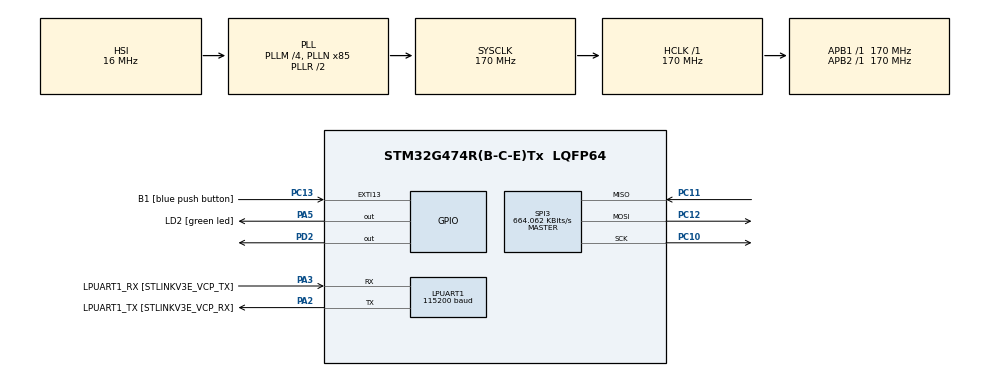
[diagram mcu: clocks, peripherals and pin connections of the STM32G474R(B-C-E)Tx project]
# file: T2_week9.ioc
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LPUART1.BaudRate=115200
LPUART1.Parity=UART_PARITY_EVEN
LPUART1.WordLength=UART_WORDLENGTH_9B
Mcu.Family=STM32G4
Mcu.Name=STM32G474R(B-C-E)Tx
Mcu.Package=LQFP64
NVIC.EXTI15_10_IRQn=true\:0\:0\:false\:false\:true\:true\:true\:true
NVIC.LPUART1_IRQn=true\:0\:0\:false\:false\:true\:true\:true\:true
NVIC.PriorityGroup=NVIC_PRIORITYGROUP_4
NVIC.SPI3_IRQn=true\:0\:0\:false\:false\:true\:true\:true\:true
PA13.GPIO_Label=T_SWDIO
PA13.Mode=Serial_Wire
PA13.Signal=SYS_JTMS-SWDIO
PA14.GPIO_Label=T_SWCLK
PA14.Mode=Serial_Wire
PA14.Signal=SYS_JTCK-SWCLK
PA2.GPIO_Label=LPUART1_TX [STLINKV3E_VCP_RX]
PA2.Mode=Asynchronous
PA2.Signal=LPUART1_TX
PA3.GPIO_Label=LPUART1_RX [STLINKV3E_VCP_TX]
PA3.Mode=Asynchronous
PA3.Signal=LPUART1_RX
PA5.GPIO_Label=LD2 [green led]
PA5.Signal=GPIO_Output
PB3.GPIO_Label=T_SWO
PB3.Signal=SYS_JTDO-SWO
PC10.Mode=Full_Duplex_Master
PC10.Signal=SPI3_SCK
PC11.Mode=Full_Duplex_Master
PC11.Signal=SPI3_MISO
PC12.Mode=Full_Duplex_Master
PC12.Signal=SPI3_MOSI
PC13.GPIO_Label=B1 [blue push button]
PC13.Signal=GPXTI13
PC14-OSC32_IN.Mode=LSE-External-Oscillator
PC14-OSC32_IN.Signal=RCC_OSC32_IN
PC15-OSC32_OUT.Mode=LSE-External-Oscillator
PC15-OSC32_OUT.Signal=RCC_OSC32_OUT
PD2.PinState=GPIO_PIN_SET
PD2.Signal=GPIO_Output
PF0-OSC_IN.Mode=HSE-External-Oscillator
PF0-OSC_IN.Signal=RCC_OSC_IN
PF1-OSC_OUT.Mode=HSE-External-Oscillator
PF1-OSC_OUT.Signal=RCC_OSC_OUT
ProjectManager.HeapSize=0x200
ProjectManager.StackSize=0x400
ProjectManager.TargetToolchain=STM32CubeIDE
RCC.ADC12Freq_Value=170000000
RCC.ADC345Freq_Value=170000000
RCC.AHBFreq_Value=170000000
RCC.APB1Freq_Value=170000000
RCC.APB1TimFreq_Value=170000000
RCC.APB2Freq_Value=170000000
RCC.APB2TimFreq_Value=170000000
RCC.CortexFreq_Value=170000000
RCC.EXTERNAL_CLOCK_VALUE=12288000
RCC.HCLKFreq_Value=170000000
RCC.HSE_VALUE=24000000
RCC.HSI48_VALUE=48000000
RCC.HSI_VALUE=16000000
RCC.PLLM=RCC_PLLM_DIV4
RCC.PLLN=85
RCC.RTCClockSelection=RCC_RTCCLKSOURCE_LSE
RCC.SYSCLKFreq_VALUE=170000000
RCC.SYSCLKSource=RCC_SYSCLKSOURCE_PLLCLK
RCC.USBFreq_Value=170000000
RCC.VCOOutputFreq_Value=340000000
SPI3.BaudRatePrescaler=SPI_BAUDRATEPRESCALER_256
SPI3.CLKPhase=SPI_PHASE_1EDGE
SPI3.CLKPolarity=SPI_POLARITY_LOW
SPI3.CalculateBaudRate=664.062 KBits/s
SPI3.DataSize=SPI_DATASIZE_8BIT
SPI3.Direction=SPI_DIRECTION_2LINES
SPI3.Mode=SPI_MODE_MASTER
SPI3.VirtualType=VM_MASTER
VP_SYS_VS_DBSignals.Mode=DisableDeadBatterySignals
board=NUCLEO-G474RE

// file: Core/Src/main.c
/* USER CODE BEGIN Header */
/**
  ******************************************************************************
  * @file           : main.c
  * @brief          : Main program body
  ******************************************************************************
  * @attention
  *
  * Copyright (c) 2024 STMicroelectronics.
  * All rights reserved.
  *
  * This software is licensed under terms that can be found in the LICENSE file
  * in the root directory of this software component.
  * If no LICENSE file comes with this software, it is provided AS-IS.
  *
  ******************************************************************************
  */
/* USER CODE END Header */
#include "main.h"

UART_HandleTypeDef hlpuart1;

SPI_HandleTypeDef hspi3;

/* USER CODE BEGIN PV */
uint8_t SPIRx[10];
uint8_t SPIRx2[10];
uint8_t SPITx[10];
uint8_t RxBuffer[4];
uint8_t TxBuffer[6];
uint8_t x = 0;
uint8_t y = 0;
uint8_t start = 0;
uint8_t shoot = 0;
uint64_t time = 0;
uint8_t LED = 255;
/* USER CODE END PV */

void SystemClock_Config(void);
static void MX_GPIO_Init(void);
static void MX_LPUART1_UART_Init(void);
static void MX_SPI3_Init(void);
/* USER CODE BEGIN PFP */
void SPITxRx_Setup();
void SPITxRx_readIO();
/* USER CODE END PFP */

int main(void)
{

  /* MCU Configuration--------------------------------------------------------*/

  /* Reset of all peripherals, Initializes the Flash interface and the Systick. */
  HAL_Init();

  /* Configure the system clock */
  SystemClock_Config();

  /* Initialize all configured peripherals */
  MX_GPIO_Init();
  MX_LPUART1_UART_Init();
  MX_SPI3_Init();
  /* USER CODE BEGIN 2 */
  UART_con();
  SPITxRx_Setup();
  /* USER CODE END 2 */

  /* Infinite loop */
  while (1)
  {

    /* USER CODE BEGIN 3 */
	  if (time+1000 >= HAL_GetTick())
	  {
		  SPITxRx_readIO();
//		  HAL_Delay(1);
		  SPITxRx_writeIO();
//		  HAL_Delay(1);
		  // 14 13 11 7 defaut 15
		 switch (SPIRx2[2]) {
			case 14:
				LED = 8;
				x = 1;
				break;
			case 13:
				LED = 4;
				y = 1;
				break;
			case 11:
				LED = 2;
				start = 1;
				break;
			case 7:
				shoot = 1;
				LED = 1;
				break;
			default:
				LED = 0;
				x = 0;
				y = 0;
				start = 0;
				shoot = 0;
				break;
		}
		if(RxBuffer[1] == 1)
		{
			LED = 255;
		}

			  TxBuffer[0] = 69;
			  TxBuffer[1] = x;
			  TxBuffer[2] = y;
			  TxBuffer[3] = start;
			  TxBuffer[4] = shoot;
		//	 TxBuffer[1] = position_degree & 0xff;
		//	 TxBuffer[2] = (position_degree >> 8) & 0xff;

			 TxBuffer[5] = '\n'; // /n
			 //
			 HAL_UART_Transmit_IT(&hlpuart1,TxBuffer,6);
			 time = HAL_GetTick();
	  }

  }
  /* USER CODE END 3 */
}

void SystemClock_Config(void)
{
  RCC_OscInitTypeDef RCC_OscInitStruct = {0};
  RCC_ClkInitTypeDef RCC_ClkInitStruct = {0};

  /** Configure the main internal regulator output voltage
  */
  HAL_PWREx_ControlVoltageScaling(PWR_REGULATOR_VOLTAGE_SCALE1_BOOST);

  /** Initializes the RCC Oscillators according to the specified parameters
  * in the RCC_OscInitTypeDef structure.
  */
  RCC_OscInitStruct.OscillatorType = RCC_OSCILLATORTYPE_HSI;
  RCC_OscInitStruct.HSIState = RCC_HSI_ON;
  RCC_OscInitStruct.HSICalibrationValue = RCC_HSICALIBRATION_DEFAULT;
  RCC_OscInitStruct.PLL.PLLState = RCC_PLL_ON;
  RCC_OscInitStruct.PLL.PLLSource = RCC_PLLSOURCE_HSI;
  RCC_OscInitStruct.PLL.PLLM = RCC_PLLM_DIV4;
  RCC_OscInitStruct.PLL.PLLN = 85;
  RCC_OscInitStruct.PLL.PLLP = RCC_PLLP_DIV2;
  RCC_OscInitStruct.PLL.PLLQ = RCC_PLLQ_DIV2;
  RCC_OscInitStruct.PLL.PLLR = RCC_PLLR_DIV2;
  if (HAL_RCC_OscConfig(&RCC_OscInitStruct) != HAL_OK)
  {
    Error_Handler();
  }

  /** Initializes the CPU, AHB and APB buses clocks
  */
  RCC_ClkInitStruct.ClockType = RCC_CLOCKTYPE_HCLK|RCC_CLOCKTYPE_SYSCLK
                              |RCC_CLOCKTYPE_PCLK1|RCC_CLOCKTYPE_PCLK2;
  RCC_ClkInitStruct.SYSCLKSource = RCC_SYSCLKSOURCE_PLLCLK;
  RCC_ClkInitStruct.AHBCLKDivider = RCC_SYSCLK_DIV1;
  RCC_ClkInitStruct.APB1CLKDivider = RCC_HCLK_DIV1;
  RCC_ClkInitStruct.APB2CLKDivider = RCC_HCLK_DIV1;

  if (HAL_RCC_ClockConfig(&RCC_ClkInitStruct, FLASH_LATENCY_4) != HAL_OK)
  {
    Error_Handler();
  }
}

static void MX_LPUART1_UART_Init(void)
{

  hlpuart1.Instance = LPUART1;
  hlpuart1.Init.BaudRate = 115200;
  hlpuart1.Init.WordLength = UART_WORDLENGTH_9B;
  hlpuart1.Init.StopBits = UART_STOPBITS_1;
  hlpuart1.Init.Parity = UART_PARITY_EVEN;
  hlpuart1.Init.Mode = UART_MODE_TX_RX;
  hlpuart1.Init.HwFlowCtl = UART_HWCONTROL_NONE;
  hlpuart1.Init.OneBitSampling = UART_ONE_BIT_SAMPLE_DISABLE;
  hlpuart1.Init.ClockPrescaler = UART_PRESCALER_DIV1;
  hlpuart1.AdvancedInit.AdvFeatureInit = UART_ADVFEATURE_NO_INIT;
  if (HAL_UART_Init(&hlpuart1) != HAL_OK)
  {
    Error_Handler();
  }
  if (HAL_UARTEx_SetTxFifoThreshold(&hlpuart1, UART_TXFIFO_THRESHOLD_1_8) != HAL_OK)
  {
    Error_Handler();
  }
  if (HAL_UARTEx_SetRxFifoThreshold(&hlpuart1, UART_RXFIFO_THRESHOLD_1_8) != HAL_OK)
  {
    Error_Handler();
  }
  if (HAL_UARTEx_DisableFifoMode(&hlpuart1) != HAL_OK)
  {
    Error_Handler();
  }

}

static void MX_SPI3_Init(void)
{

  /* SPI3 parameter configuration*/
  hspi3.Instance = SPI3;
  hspi3.Init.Mode = SPI_MODE_MASTER;
  hspi3.Init.Direction = SPI_DIRECTION_2LINES;
  hspi3.Init.DataSize = SPI_DATASIZE_8BIT;
  hspi3.Init.CLKPolarity = SPI_POLARITY_LOW;
  hspi3.Init.CLKPhase = SPI_PHASE_1EDGE;
  hspi3.Init.NSS = SPI_NSS_SOFT;
  hspi3.Init.BaudRatePrescaler = SPI_BAUDRATEPRESCALER_256;
  hspi3.Init.FirstBit = SPI_FIRSTBIT_MSB;
  hspi3.Init.TIMode = SPI_TIMODE_DISABLE;
  hspi3.Init.CRCCalculation = SPI_CRCCALCULATION_DISABLE;
  hspi3.Init.CRCPolynomial = 7;
  hspi3.Init.CRCLength = SPI_CRC_LENGTH_DATASIZE;
  hspi3.Init.NSSPMode = SPI_NSS_PULSE_ENABLE;
  if (HAL_SPI_Init(&hspi3) != HAL_OK)
  {
    Error_Handler();
  }

}

static void MX_GPIO_Init(void)
{
  GPIO_InitTypeDef GPIO_InitStruct = {0};

  /* GPIO Ports Clock Enable */
  __HAL_RCC_GPIOC_CLK_ENABLE();
  __HAL_RCC_GPIOF_CLK_ENABLE();
  __HAL_RCC_GPIOA_CLK_ENABLE();
  __HAL_RCC_GPIOD_CLK_ENABLE();
  __HAL_RCC_GPIOB_CLK_ENABLE();

  /*Configure GPIO pin Output Level */
  HAL_GPIO_WritePin(LD2_GPIO_Port, LD2_Pin, GPIO_PIN_RESET);

  /*Configure GPIO pin Output Level */
  HAL_GPIO_WritePin(GPIOD, GPIO_PIN_2, GPIO_PIN_SET);

  /*Configure GPIO pin : B1_Pin */
  GPIO_InitStruct.Pin = B1_Pin;
  GPIO_InitStruct.Mode = GPIO_MODE_IT_RISING;
  GPIO_InitStruct.Pull = GPIO_NOPULL;
  HAL_GPIO_Init(B1_GPIO_Port, &GPIO_InitStruct);

  /*Configure GPIO pin : LD2_Pin */
  GPIO_InitStruct.Pin = LD2_Pin;
  GPIO_InitStruct.Mode = GPIO_MODE_OUTPUT_PP;
  GPIO_InitStruct.Pull = GPIO_NOPULL;
  GPIO_InitStruct.Speed = GPIO_SPEED_FREQ_LOW;
  HAL_GPIO_Init(LD2_GPIO_Port, &GPIO_InitStruct);

  /*Configure GPIO pin : PD2 */
  GPIO_InitStruct.Pin = GPIO_PIN_2;
  GPIO_InitStruct.Mode = GPIO_MODE_OUTPUT_PP;
  GPIO_InitStruct.Pull = GPIO_NOPULL;
  GPIO_InitStruct.Speed = GPIO_SPEED_FREQ_LOW;
  HAL_GPIO_Init(GPIOD, &GPIO_InitStruct);

  /* EXTI interrupt init*/
  HAL_NVIC_SetPriority(EXTI15_10_IRQn, 0, 0);
  HAL_NVIC_EnableIRQ(EXTI15_10_IRQn);

}

/* USER CODE BEGIN 4 */
void UART_con()
{
	HAL_UART_Receive_IT(&hlpuart1, RxBuffer, 4);
}
void HAL_UART_RxCpltCallback(UART_HandleTypeDef *huart){
	if(huart == &hlpuart1)
	{
		if (RxBuffer[0] == 69)
		{

		}
		HAL_UART_Receive_IT(&hlpuart1, RxBuffer, 4);
	}
}

void SPITxRx_Setup()
{
//CS pulse
	HAL_GPIO_WritePin(GPIOD, GPIO_PIN_2, 0); // CS Select
	HAL_Delay(1);
	HAL_GPIO_WritePin(GPIOD, GPIO_PIN_2, 1); // CS deSelect
	HAL_Delay(1);
}
void SPITxRx_readIO()
{
	if(HAL_GPIO_ReadPin(GPIOD,GPIO_PIN_2))
	{
		HAL_GPIO_WritePin(GPIOD, GPIO_PIN_2, 0); // CS Select
		SPITx[0] = 0b01000001;
		SPITx[1] = 0x12;
		SPITx[2] = 0;
		SPITx[3] = 0;
		HAL_SPI_TransmitReceive_IT(&hspi3, SPITx, SPIRx2, 3);
	}
}

void SPITxRx_writeIO()
{
	if(HAL_GPIO_ReadPin(GPIOD,GPIO_PIN_2))
	{
		HAL_GPIO_WritePin(GPIOD, GPIO_PIN_2, 0); // CS Select
		SPITx[0] = 0b01000000;
		SPITx[1] = 0x01;
		SPITx[2] = ~LED;
		SPITx[3] = 0;
		HAL_SPI_TransmitReceive_IT(&hspi3, SPITx, SPIRx, 3);
	}
}
void HAL_SPI_TxRxCpltCallback(SPI_HandleTypeDef *hspi)
{
	HAL_GPIO_WritePin(GPIOD, GPIO_PIN_2, 1); //CS dnSelect
}
/* USER CODE END 4 */

void Error_Handler(void)
{
  __disable_irq();
  while (1)
  {
  }
}
